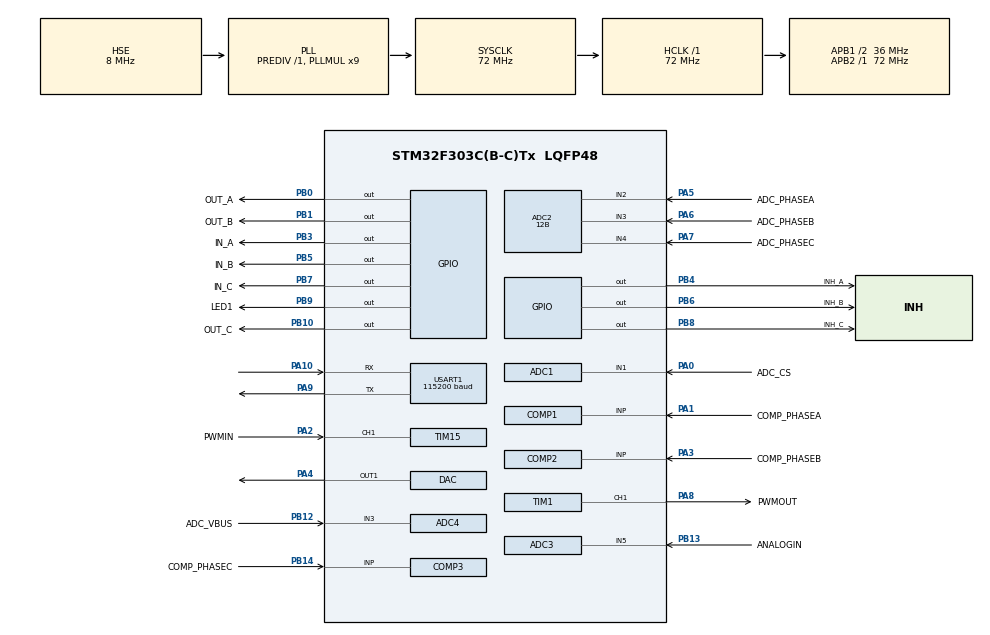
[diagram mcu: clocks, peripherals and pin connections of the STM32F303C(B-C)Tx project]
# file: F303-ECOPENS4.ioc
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ADC1.Channel-0\#ChannelRegularConversion=ADC_CHANNEL_1
ADC1.ClockPrescaler=ADC_CLOCK_SYNC_PCLK_DIV2
ADC1.ContinuousConvMode=ENABLE
ADC1.DMAContinuousRequests=ENABLE
ADC1.DataAlign=ADC_DATAALIGN_RIGHT
ADC1.EOCSelection=ADC_EOC_SEQ_CONV
ADC1.EnableInjectedConversion=DISABLE
ADC1.ExternalTrigConv=ADC_SOFTWARE_START
ADC1.ExternalTrigConvEdge=ADC_EXTERNALTRIGCONVEDGE_NONE
ADC1.NbrOfConversion=1
ADC1.NbrOfConversionFlag=1
ADC1.Offset-0\#ChannelRegularConversion=0
ADC1.OffsetNumber-0\#ChannelRegularConversion=ADC_OFFSET_NONE
ADC1.Rank-0\#ChannelRegularConversion=1
ADC1.SamplingTime-0\#ChannelRegularConversion=ADC_SAMPLETIME_19CYCLES_5
ADC1.SamplingTimeOPAMP-0\#ChannelRegularConversion=ADC_SAMPLETIME_4CYCLES_5
ADC1.master=1
ADC2.Channel-1\#ChannelRegularConversion=ADC_CHANNEL_2
ADC2.Channel-2\#ChannelRegularConversion=ADC_CHANNEL_3
ADC2.Channel-3\#ChannelRegularConversion=ADC_CHANNEL_4
ADC2.ClockPrescaler=ADC_CLOCK_SYNC_PCLK_DIV2
ADC2.ContinuousConvMode=ENABLE
ADC2.DMAContinuousRequests=ENABLE
ADC2.EOCSelection=ADC_EOC_SEQ_CONV
ADC2.EnableAnalogWatchDog1=false
ADC2.EnableAnalogWatchDog2=false
ADC2.EnableAnalogWatchDog3=false
ADC2.EnableInjectedConversion=DISABLE
ADC2.ExternalTrigConv=ADC_EXTERNALTRIGCONV_T1_TRGO2
ADC2.ExternalTrigConvEdge=ADC_EXTERNALTRIGCONVEDGE_RISING
ADC2.NbrOfConversion=3
ADC2.NbrOfConversionFlag=1
ADC2.Offset-1\#ChannelRegularConversion=0
ADC2.Offset-2\#ChannelRegularConversion=0
ADC2.Offset-3\#ChannelRegularConversion=0
ADC2.OffsetNumber-1\#ChannelRegularConversion=ADC_OFFSET_NONE
ADC2.OffsetNumber-2\#ChannelRegularConversion=ADC_OFFSET_NONE
ADC2.OffsetNumber-3\#ChannelRegularConversion=ADC_OFFSET_NONE
ADC2.Rank-1\#ChannelRegularConversion=1
ADC2.Rank-2\#ChannelRegularConversion=2
ADC2.Rank-3\#ChannelRegularConversion=3
ADC2.Resolution=ADC_RESOLUTION_12B
ADC2.SamplingTime-1\#ChannelRegularConversion=ADC_SAMPLETIME_4CYCLES_5
ADC2.SamplingTime-2\#ChannelRegularConversion=ADC_SAMPLETIME_4CYCLES_5
ADC2.SamplingTime-3\#ChannelRegularConversion=ADC_SAMPLETIME_4CYCLES_5
ADC2.SamplingTimeOPAMP-2\#ChannelRegularConversion=ADC_SAMPLETIME_4CYCLES_5
ADC2.SamplingTimeOPAMP-3\#ChannelRegularConversion=ADC_SAMPLETIME_4CYCLES_5
ADC3.Channel-0\#ChannelRegularConversion=ADC_CHANNEL_5
ADC3.ClockPrescaler=ADC_CLOCK_SYNC_PCLK_DIV4
ADC3.ContinuousConvMode=ENABLE
ADC3.DMAContinuousRequests=DISABLE
ADC3.EOCSelection=ADC_EOC_SINGLE_CONV
ADC3.EnableAnalogWatchDog1=false
ADC3.EnableInjectedConversion=DISABLE
ADC3.NbrOfConversion=1
ADC3.NbrOfConversionFlag=1
ADC3.Offset-0\#ChannelRegularConversion=0
ADC3.OffsetNumber-0\#ChannelRegularConversion=ADC_OFFSET_NONE
ADC3.Rank-0\#ChannelRegularConversion=1
ADC3.SamplingTime-0\#ChannelRegularConversion=ADC_SAMPLETIME_601CYCLES_5
ADC3.SamplingTimeOPAMP-0\#ChannelRegularConversion=ADC_SAMPLETIME_7CYCLES_5
ADC3.master=1
ADC4.Channel-0\#ChannelRegularConversion=ADC_CHANNEL_3
ADC4.ClockPrescaler=ADC_CLOCK_SYNC_PCLK_DIV4
ADC4.ContinuousConvMode=ENABLE
ADC4.DMAContinuousRequests=DISABLE
ADC4.EOCSelection=ADC_EOC_SEQ_CONV
ADC4.NbrOfConversion=1
ADC4.NbrOfConversionFlag=1
ADC4.Offset-0\#ChannelRegularConversion=0
ADC4.OffsetNumber-0\#ChannelRegularConversion=ADC_OFFSET_NONE
ADC4.Rank-0\#ChannelRegularConversion=1
ADC4.SamplingTime-0\#ChannelRegularConversion=ADC_SAMPLETIME_61CYCLES_5
COMP1.BlankingSrce=COMP_BLANKINGSRCE_TIM1OC5
COMP1.InvertingInput=COMP_INVERTINGINPUT_DAC1_CH1
COMP1.TriggerMode=COMP_TRIGGERMODE_IT_RISING_FALLING
COMP2.BlankingSrce=COMP_BLANKINGSRCE_TIM1OC5
COMP2.InvertingInput=COMP_INVERTINGINPUT_DAC1_CH1
COMP2.TriggerMode=COMP_TRIGGERMODE_IT_RISING_FALLING
COMP3.BlankingSrce=COMP_BLANKINGSRCE_TIM1OC5
COMP3.InvertingInput=COMP_INVERTINGINPUT_DAC1_CH1
COMP3.TriggerMode=COMP_TRIGGERMODE_IT_RISING_FALLING
Dma.ADC1.1.Direction=DMA_PERIPH_TO_MEMORY
Dma.ADC1.1.Instance=DMA1_Channel1
Dma.ADC1.1.MemDataAlignment=DMA_MDATAALIGN_HALFWORD
Dma.ADC1.1.MemInc=DMA_MINC_ENABLE
Dma.ADC1.1.Mode=DMA_CIRCULAR
Dma.ADC1.1.PeriphDataAlignment=DMA_PDATAALIGN_HALFWORD
Dma.ADC1.1.PeriphInc=DMA_PINC_DISABLE
Dma.ADC1.1.Priority=DMA_PRIORITY_LOW
Dma.ADC2.2.Direction=DMA_PERIPH_TO_MEMORY
Dma.ADC2.2.Instance=DMA2_Channel1
Dma.ADC2.2.MemDataAlignment=DMA_MDATAALIGN_HALFWORD
Dma.ADC2.2.MemInc=DMA_MINC_ENABLE
Dma.ADC2.2.Mode=DMA_CIRCULAR
Dma.ADC2.2.PeriphDataAlignment=DMA_PDATAALIGN_HALFWORD
Dma.ADC2.2.PeriphInc=DMA_PINC_DISABLE
Dma.ADC2.2.Priority=DMA_PRIORITY_LOW
Dma.Request0=USART1_RX
Dma.Request1=ADC1
Dma.Request2=ADC2
Dma.USART1_RX.0.Direction=DMA_PERIPH_TO_MEMORY
Dma.USART1_RX.0.Instance=DMA1_Channel5
Dma.USART1_RX.0.MemDataAlignment=DMA_MDATAALIGN_BYTE
Dma.USART1_RX.0.MemInc=DMA_MINC_ENABLE
Dma.USART1_RX.0.Mode=DMA_CIRCULAR
Dma.USART1_RX.0.PeriphDataAlignment=DMA_PDATAALIGN_BYTE
Dma.USART1_RX.0.PeriphInc=DMA_PINC_DISABLE
Dma.USART1_RX.0.Priority=DMA_PRIORITY_LOW
FREERTOS.Tasks01=comparatorTask,48,128,StartComparatorTask,Default,NULL,Dynamic,NULL,NULL;analogInTask,40,128,StartAnalogInTask,Default,NULL,Dynamic,NULL,NULL;controllerTask,24,128,StartControllerTask,Default,NULL,Dynamic,NULL,NULL;positioningTask,49,128,StartPositioningTask,Default,NULL,Dynamic,NULL,NULL
Mcu.Family=STM32F3
Mcu.Name=STM32F303C(B-C)Tx
Mcu.Package=LQFP48
NVIC.ADC1_2_IRQn=true\:5\:0\:false\:false\:true\:true\:true\:true
NVIC.COMP1_2_3_IRQn=true\:5\:0\:false\:false\:true\:true\:false\:true
NVIC.DMA1_Channel1_IRQn=true\:5\:0\:true\:false\:true\:true\:false\:true
NVIC.DMA1_Channel5_IRQn=true\:5\:0\:true\:false\:true\:true\:false\:true
NVIC.DMA2_Channel1_IRQn=true\:5\:0\:false\:false\:true\:true\:false\:true
NVIC.PriorityGroup=NVIC_PRIORITYGROUP_4
NVIC.TIM1_BRK_TIM15_IRQn=true\:5\:0\:true\:false\:true\:true\:true\:true
NVIC.TIM1_CC_IRQn=true\:5\:0\:false\:false\:true\:true\:true\:true
NVIC.TIM1_UP_TIM16_IRQn=true\:5\:0\:true\:false\:true\:true\:true\:true
NVIC.TIM3_IRQn=true\:5\:0\:false\:false\:true\:true\:true\:true
NVIC.TIM6_DAC_IRQn=true\:5\:0\:true\:false\:true\:true\:true\:true
NVIC.TIM7_IRQn=true\:15\:0\:false\:false\:true\:false\:false\:true
NVIC.TimeBase=TIM7_IRQn
NVIC.TimeBaseIP=TIM7
PA0.GPIO_Label=ADC_CS
PA0.Mode=IN1-Single-Ended
PA0.Signal=ADC1_IN1
PA1.GPIO_Label=COMP_PHASEA
PA1.Mode=INP
PA1.Signal=COMP1_INP
PA10.Mode=Asynchronous
PA10.Signal=USART1_RX
PA13.Mode=Serial_Wire
PA13.Signal=SYS_JTMS-SWDIO
PA14.Mode=Serial_Wire
PA14.Signal=SYS_JTCK-SWCLK
PA2.GPIO_Label=PWMIN
PA2.GPIO_PuPd=GPIO_PULLDOWN
PA2.GPIO_Speed=GPIO_SPEED_FREQ_LOW
PA2.Signal=S_TIM15_CH1
PA3.GPIO_Label=COMP_PHASEB
PA3.Mode=INP
PA3.Signal=COMP2_INP
PA4.Signal=COMP_DAC1_group
PA5.GPIO_Label=ADC_PHASEA
PA5.Mode=IN2-Single-Ended
PA5.Signal=ADC2_IN2
PA6.GPIO_Label=ADC_PHASEB
PA6.Mode=IN3-Single-Ended
PA6.Signal=ADC2_IN3
PA7.GPIO_Label=ADC_PHASEC
PA7.Mode=IN4-Single-Ended
PA7.Signal=ADC2_IN4
PA8.GPIO_Label=PWMOUT
PA8.GPIO_PuPd=GPIO_PULLDOWN
PA8.GPIO_Speed=GPIO_SPEED_FREQ_HIGH
PA8.Signal=S_TIM1_CH1
PA9.Mode=Asynchronous
PA9.Signal=USART1_TX
PB0.GPIO_Label=OUT_A
PB0.GPIO_ModeDefaultOutputPP=GPIO_MODE_OUTPUT_OD
PB0.PinState=GPIO_PIN_RESET
PB0.Signal=GPIO_Output
PB1.GPIO_Label=OUT_B
PB1.GPIO_ModeDefaultOutputPP=GPIO_MODE_OUTPUT_OD
PB1.PinState=GPIO_PIN_RESET
PB1.Signal=GPIO_Output
PB10.GPIO_Label=OUT_C
PB10.GPIO_ModeDefaultOutputPP=GPIO_MODE_OUTPUT_OD
PB10.Signal=GPIO_Output
PB12.GPIO_Label=ADC_VBUS
PB12.Mode=IN3-Single-Ended
PB12.Signal=ADC4_IN3
PB13.GPIO_Label=ANALOGIN
PB13.Mode=IN5-Single-Ended
PB13.Signal=ADC3_IN5
PB14.GPIO_Label=COMP_PHASEC
PB14.Mode=INP
PB14.Signal=COMP3_INP
PB3.GPIO_Label=IN_A
PB3.GPIO_ModeDefaultOutputPP=GPIO_MODE_OUTPUT_OD
PB3.Signal=GPIO_Output
PB4.GPIO_Label=INH_A
PB4.Signal=GPIO_Output
PB5.GPIO_Label=IN_B
PB5.GPIO_ModeDefaultOutputPP=GPIO_MODE_OUTPUT_OD
PB5.Signal=GPIO_Output
PB6.GPIO_Label=INH_B
PB6.Signal=GPIO_Output
PB7.GPIO_Label=IN_C
PB7.GPIO_ModeDefaultOutputPP=GPIO_MODE_OUTPUT_OD
PB7.Signal=GPIO_Output
PB8.GPIO_Label=INH_C
PB8.Signal=GPIO_Output
PB9.GPIO_Label=LED1
PB9.Signal=GPIO_Output
PF0-OSC_IN.Mode=HSE-External-Oscillator
PF0-OSC_IN.Signal=RCC_OSC_IN
PF1-OSC_OUT.Mode=HSE-External-Oscillator
PF1-OSC_OUT.Signal=RCC_OSC_OUT
ProjectManager.HeapSize=0x200
ProjectManager.StackSize=0x400
ProjectManager.TargetToolchain=STM32CubeIDE
RCC.ADC12PRES=RCC_ADC12PLLCLK_DIV2
RCC.ADC34PRES=RCC_ADC34PLLCLK_DIV12
RCC.AHBFreq_Value=72000000
RCC.APB1CLKDivider=RCC_HCLK_DIV2
RCC.APB1Freq_Value=36000000
RCC.APB1TimFreq_Value=72000000
RCC.APB2Freq_Value=72000000
RCC.APB2TimFreq_Value=72000000
RCC.CortexFreq_Value=72000000
RCC.HCLKFreq_Value=72000000
RCC.HSE_VALUE=8000000
RCC.HSI_VALUE=8000000
RCC.LSE_VALUE=32768
RCC.PLLMUL=RCC_PLL_MUL9
RCC.PLLSourceVirtual=RCC_PLLSOURCE_HSE
RCC.SYSCLKFreq_VALUE=72000000
RCC.SYSCLKSourceVirtual=RCC_SYSCLKSOURCE_PLLCLK
RCC.USBFreq_Value=72000000
SH.COMP_DAC1_group.0=DAC_OUT1,DAC_OUT1
SH.S_TIM15_CH1.0=TIM15_CH1,Input_Capture1_from_TI1
SH.S_TIM15_CH1.1=TIM15_CH1,Input_Capture2_from_TI1
SH.S_TIM1_CH1.0=TIM1_CH1,PWM Generation1 CH1
TIM1.Channel-PWM\ Generation1\ CH1=TIM_CHANNEL_1
TIM1.Channel-PWM\ Generation5\ No\ Output=TIM_CHANNEL_5
TIM1.CounterMode=TIM_COUNTERMODE_CENTERALIGNED3
TIM1.OCFastMode_PWM-PWM\ Generation1\ CH1=TIM_OCFAST_ENABLE
TIM1.OCFastMode_PWM-PWM\ Generation5\ No\ Output=TIM_OCFAST_ENABLE
TIM1.OCIdleState_1=TIM_OCIDLESTATE_SET
TIM1.OCIdleState_5=TIM_OCIDLESTATE_SET
TIM1.OCMode_PWM-PWM\ Generation1\ CH1=TIM_OCMODE_PWM1
TIM1.Period=1800
TIM1.Prescaler=0
TIM1.Pulse-PWM\ Generation1\ CH1=0
TIM1.TIM_MasterOutputTrigger=TIM_TRGO_UPDATE
TIM1.TIM_MasterOutputTrigger2=TIM_TRGO2_OC5REF
TIM15.Channel-Input_Capture1_from_TI1=TIM_CHANNEL_1
TIM15.Channel-Input_Capture2_from_TI1=TIM_CHANNEL_2
TIM15.ICPolarity_CH2=TIM_INPUTCHANNELPOLARITY_FALLING
TIM15.Prescaler=72 - 1
TIM16.Period=1000
TIM16.Prescaler=72 - 1
TIM2.ClockDivision=TIM_CLOCKDIVISION_DIV1
TIM2.Prescaler=0
TIM3.Channel-Output\ Compare1\ No\ Output=TIM_CHANNEL_1
TIM3.Period=65000
TIM3.Prescaler=1
TIM3.Pulse-Output\ Compare1\ No\ Output=500
TIM6.Period=10
TIM6.Prescaler=72 - 1
USART1.BaudRate=115200
USART1.VirtualMode-Asynchronous=VM_ASYNC
VP_COMP1_VS_DAC1OUT1.Mode=INM_DACOUT1
VP_COMP2_VS_DAC1OUT1.Mode=INM_DACOUT1
VP_COMP3_VS_DAC1OUT1.Mode=INM_DACOUT1
VP_FREERTOS_VS_CMSIS_V2.Mode=CMSIS_V2
VP_SYS_VS_tim7.Mode=TIM7
VP_TIM15_VS_ClockSourceINT.Mode=Internal
VP_TIM16_VS_ClockSourceINT.Mode=Enable_Timer
VP_TIM1_VS_no_output5.Mode=PWM Generation5 No Output
VP_TIM2_VS_ClockSourceINT.Mode=Internal
VP_TIM3_VS_no_output1.Mode=Output Compare1 No Output
VP_TIM6_VS_ClockSourceINT.Mode=Enable_Timer
board=custom

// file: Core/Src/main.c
/* USER CODE BEGIN Header */
/**
 ******************************************************************************
 * @file           : main.c
 * @brief          : Main program body
 ******************************************************************************
 * @attention
 *
 * <h2><center>&copy; Copyright (c) 2021 STMicroelectronics.
 * All rights reserved.</center></h2>
 *
 * This software component is licensed by ST under Ultimate Liberty license
 * SLA0044, the "License"; You may not use this file except in compliance with
 * the License. You may obtain a copy of the License at:
 *                             www.st.com/SLA0044
 *
 ******************************************************************************
 */
/* USER CODE END Header */
#include "main.h"
#include "cmsis_os.h"

/* USER CODE BEGIN Includes */
#include "retarget.h"
#include <stdio.h>
#include <stdbool.h>
#include <dwt_delay.h>
/* USER CODE END Includes */

/* USER CODE BEGIN PTD */
typedef enum {
	MODE_MOTOR_STOP,
	MODE_MOTOR_CALIBRATION,
	MODE_MOTOR_READY,
	MODE_MOTOR_START,
	MODE_MOTOR_RUN
} MODE_MOTOR_t;

typedef enum {
	BEMF_FALLING = 0, BEMF_RISING
} BEMF_DIR_t;

typedef enum {
	PHASE_A = 0, PHASE_B, PHASE_C
} PHASE_t;
/* USER CODE END PTD */

/* USER CODE BEGIN PD */
#define COMP1_CALLBACK 1
#define COMP2_CALLBACK 2
#define COMP3_CALLBACK 3
/* USER CODE END PD */

ADC_HandleTypeDef hadc1;
ADC_HandleTypeDef hadc2;
ADC_HandleTypeDef hadc3;
ADC_HandleTypeDef hadc4;
DMA_HandleTypeDef hdma_adc1;
DMA_HandleTypeDef hdma_adc2;

COMP_HandleTypeDef hcomp1;
COMP_HandleTypeDef hcomp2;
COMP_HandleTypeDef hcomp3;

DAC_HandleTypeDef hdac;

TIM_HandleTypeDef htim1;
TIM_HandleTypeDef htim2;
TIM_HandleTypeDef htim3;
TIM_HandleTypeDef htim6;
TIM_HandleTypeDef htim15;
TIM_HandleTypeDef htim16;

UART_HandleTypeDef huart1;
DMA_HandleTypeDef hdma_usart1_rx;

/* Definitions for comparatorTask */
osThreadId_t comparatorTaskHandle;
const osThreadAttr_t comparatorTask_attributes = { .name = "comparatorTask",
		.stack_size = 128 * 4, .priority = (osPriority_t) osPriorityRealtime, };
/* Definitions for analogInTask */
osThreadId_t analogInTaskHandle;
const osThreadAttr_t analogInTask_attributes = { .name = "analogInTask",
		.stack_size = 128 * 4, .priority = (osPriority_t) osPriorityHigh, };
/* Definitions for controllerTask */
osThreadId_t controllerTaskHandle;
const osThreadAttr_t controllerTask_attributes = { .name = "controllerTask",
		.stack_size = 128 * 4, .priority = (osPriority_t) osPriorityNormal, };
/* Definitions for positioningTask */
osThreadId_t positioningTaskHandle;
const osThreadAttr_t positioningTask_attributes = { .name = "positioningTask",
		.stack_size = 128 * 4, .priority = (osPriority_t) osPriorityRealtime1, };
/* USER CODE BEGIN PV */
uint8_t compTrig = 0;

uint8_t buffer[200];
volatile uint16_t strSize;
volatile uint8_t commutationStepCounter;
volatile uint8_t waitForCommutation = 1;

uint32_t tim2cnt;
uint8_t RXBuffer[200];
bool USART1DataFlag = false;
float adcIntegral = 0;
bool adcDMAStarted = false;

volatile int16_t newPWM = 100;
volatile int16_t setPWM = 100;
volatile int16_t compWindowOffset = 250 * 2; //this opens a comparator window to block overshooting signals from triggering (adjust to Vbat)
volatile uint16_t oc5Value = 200; //preset offset-value (for fine tuning) of the DAC voltage output as the reference voltage for the compartors (about 0V or Vbat/2)
volatile uint8_t pwmState = 0; //indicates whether a zero crossing (pwm low) or a Vbat/2 crossing (pwm high) will be detected; 0 = PWM low detection, 1 = PWM high detection

ADC_ChannelConfTypeDef sConfig;
TIM_OC_InitTypeDef sConfigOC5B;
TIM_OC_InitTypeDef sConfigOC5A;
bool firstStart = false;

volatile bool readRotation = false;

float measuredRPM = 0;
float inputRPM = 0;
uint32_t rpm_cnt = 0;

uint16_t input_pwm_min = 1000;
uint16_t input_pwm_max = 1900;

uint32_t inputDutyCycle = 0;
float inputFrequency = 0;
uint16_t oc5ValueOld = 0;

uint16_t adcVbus = 3900;

PHASE_t phase_bemf = PHASE_B;

BEMF_DIR_t bemf_dir = BEMF_FALLING;

MODE_MOTOR_t mode_motor = MODE_MOTOR_STOP;

uint16_t adc2DMA[10] = { 0 };

float errorPWM = 0.0;
float integralErrorPWM = 0.0;

/* USER CODE END PV */

void SystemClock_Config(void);
static void MX_GPIO_Init(void);
static void MX_DMA_Init(void);
static void MX_ADC1_Init(void);
static void MX_COMP1_Init(void);
static void MX_COMP2_Init(void);
static void MX_COMP3_Init(void);
static void MX_DAC_Init(void);
static void MX_TIM1_Init(void);
static void MX_USART1_UART_Init(void);
static void MX_ADC2_Init(void);
static void MX_TIM15_Init(void);
static void MX_TIM2_Init(void);
static void MX_TIM6_Init(void);
static void MX_TIM16_Init(void);
static void MX_ADC3_Init(void);
static void MX_ADC4_Init(void);
static void MX_TIM3_Init(void);
void StartComparatorTask(void *argument);
void StartAnalogInTask(void *argument);
void StartControllerTask(void *argument);
void StartPositioningTask(void *argument);

/* USER CODE BEGIN 0 */
void commutateNow_0(void) {
	HAL_GPIO_WritePin(INH_A_GPIO_Port, INH_A_Pin, GPIO_PIN_SET); //PHASE A HIGH
	HAL_GPIO_WritePin(IN_A_GPIO_Port, IN_A_Pin, GPIO_PIN_SET);

	HAL_GPIO_WritePin(INH_B_GPIO_Port, INH_B_Pin, GPIO_PIN_RESET); //PHASE B FLOATING
	HAL_GPIO_WritePin(IN_B_GPIO_Port, IN_B_Pin, GPIO_PIN_RESET);

	HAL_GPIO_WritePin(INH_C_GPIO_Port, INH_C_Pin, GPIO_PIN_SET); //PHASE C LOW
	HAL_GPIO_WritePin(IN_C_GPIO_Port, IN_C_Pin, GPIO_PIN_RESET);
}

void commutateNow_1(void) {
	HAL_GPIO_WritePin(INH_A_GPIO_Port, INH_A_Pin, GPIO_PIN_RESET); //PHASE A FLOATING
	HAL_GPIO_WritePin(IN_A_GPIO_Port, IN_A_Pin, GPIO_PIN_RESET);

	HAL_GPIO_WritePin(INH_B_GPIO_Port, INH_B_Pin, GPIO_PIN_SET); //PHASE B HIGH
	HAL_GPIO_WritePin(IN_B_GPIO_Port, IN_B_Pin, GPIO_PIN_SET);

	HAL_GPIO_WritePin(INH_C_GPIO_Port, INH_C_Pin, GPIO_PIN_SET); //PHASE C LOW
	HAL_GPIO_WritePin(IN_C_GPIO_Port, IN_C_Pin, GPIO_PIN_RESET);
}

void commutateNow_2(void) {
	HAL_GPIO_WritePin(INH_A_GPIO_Port, INH_A_Pin, GPIO_PIN_SET); //PHASE A LOW
	HAL_GPIO_WritePin(IN_A_GPIO_Port, IN_A_Pin, GPIO_PIN_RESET);

	HAL_GPIO_WritePin(INH_B_GPIO_Port, INH_B_Pin, GPIO_PIN_SET); //PHASE B HIGH
	HAL_GPIO_WritePin(IN_B_GPIO_Port, IN_B_Pin, GPIO_PIN_SET);

	HAL_GPIO_WritePin(INH_C_GPIO_Port, INH_C_Pin, GPIO_PIN_RESET); //PHASE C FLOATING
	HAL_GPIO_WritePin(IN_C_GPIO_Port, IN_C_Pin, GPIO_PIN_RESET);
}

void commutateNow_3(void) {
	HAL_GPIO_WritePin(INH_A_GPIO_Port, INH_A_Pin, GPIO_PIN_SET); //PHASE A LOW
	HAL_GPIO_WritePin(IN_A_GPIO_Port, IN_A_Pin, GPIO_PIN_RESET);

	HAL_GPIO_WritePin(INH_B_GPIO_Port, INH_B_Pin, GPIO_PIN_RESET); //PHASE B FLOATING
	HAL_GPIO_WritePin(IN_B_GPIO_Port, IN_B_Pin, GPIO_PIN_RESET);

	HAL_GPIO_WritePin(INH_C_GPIO_Port, INH_C_Pin, GPIO_PIN_SET); //PHASE C HIGH
	HAL_GPIO_WritePin(IN_C_GPIO_Port, IN_C_Pin, GPIO_PIN_SET);

}

void commutateNow_4(void) {
	HAL_GPIO_WritePin(INH_A_GPIO_Port, INH_A_Pin, GPIO_PIN_RESET); //PHASE A FLOATING
	HAL_GPIO_WritePin(IN_A_GPIO_Port, IN_A_Pin, GPIO_PIN_RESET);

	HAL_GPIO_WritePin(INH_B_GPIO_Port, INH_B_Pin, GPIO_PIN_SET); //PHASE B LOW
	HAL_GPIO_WritePin(IN_B_GPIO_Port, IN_B_Pin, GPIO_PIN_RESET);

	HAL_GPIO_WritePin(INH_C_GPIO_Port, INH_C_Pin, GPIO_PIN_SET); //PHASE C HIGH
	HAL_GPIO_WritePin(IN_C_GPIO_Port, IN_C_Pin, GPIO_PIN_SET);

}
void commutateNow_5(void) {
	HAL_GPIO_WritePin(INH_A_GPIO_Port, INH_A_Pin, GPIO_PIN_SET); //PHASE A HIGH
	HAL_GPIO_WritePin(IN_A_GPIO_Port, IN_A_Pin, GPIO_PIN_SET);

	HAL_GPIO_WritePin(INH_B_GPIO_Port, INH_B_Pin, GPIO_PIN_SET); //PHASE B LOW
	HAL_GPIO_WritePin(IN_B_GPIO_Port, IN_B_Pin, GPIO_PIN_RESET);

	HAL_GPIO_WritePin(INH_C_GPIO_Port, INH_B_Pin, GPIO_PIN_RESET); //PHASE C FLOATING
	HAL_GPIO_WritePin(IN_C_GPIO_Port, IN_B_Pin, GPIO_PIN_RESET);
}

void commutationPattern(uint8_t step) {
	if (step == NEXT && waitForCommutation == 1) {
		bemf_dir = !bemf_dir;
		if (commutationStepCounter < STEP_5)
			commutationStepCounter++;
		else {
			commutationStepCounter = STEP_0;
		}
		switch (commutationStepCounter) {
		case STEP_0:
			commutateNow_0();
			COMPDELAY
			;
			waitForCommutation = 0;
			phase_bemf = PHASE_B;
			bemf_dir = BEMF_RISING;
			HAL_COMP_Start_IT(&hcomp2);
			break;
		case STEP_1:
			commutateNow_1();
			COMPDELAY
			;
			waitForCommutation = 0;
			phase_bemf = PHASE_A;
			bemf_dir = BEMF_FALLING;
			HAL_COMP_Start_IT(&hcomp1);
			break;
		case STEP_2:
			commutateNow_2();
			COMPDELAY
			;
			waitForCommutation = 0;
			phase_bemf = PHASE_C;
			bemf_dir = BEMF_RISING;
			HAL_COMP_Start_IT(&hcomp3);
			break;
		case STEP_3:
			commutateNow_3();
			COMPDELAY
			;
			waitForCommutation = 0;
			phase_bemf = PHASE_B;
			bemf_dir = BEMF_FALLING;
			HAL_COMP_Start_IT(&hcomp2);
			break;
		case STEP_4:
			commutateNow_4();
			COMPDELAY
			;
			waitForCommutation = 0;
			phase_bemf = PHASE_A;
			bemf_dir = BEMF_RISING;
			HAL_COMP_Start_IT(&hcomp1);
			break;
		case STEP_5:
			commutateNow_5();
			COMPDELAY
			;
			waitForCommutation = 0;
			phase_bemf = PHASE_C;
			bemf_dir = BEMF_FALLING;
			HAL_COMP_Start_IT(&hcomp3);
			break;
		}
	} else {
		waitForCommutation = 0;
		switch (step) {
		case STEP_0:
			commutateNow_0();
			break;
		case STEP_1:
			commutateNow_1();
			break;
		case STEP_2:
			commutateNow_2();
			break;
		case STEP_3:
			commutateNow_3();
			break;
		case STEP_4:
			commutateNow_4();
			break;
		case STEP_5:
			commutateNow_5();
			break;
		}
	}
}

void startMotor() {
	//setPWM = newPWM = 360;
	setPWM = newPWM = 180;

	TIM1->CCR1 = setPWM;
	TIM1->CCR5 = setPWM + compWindowOffset;

	uint8_t step = 0;
	uint16_t i = 2020;

	while (i > 1300) {

		DWT_Delay(i);
		commutationPattern(step);
		setPWM += 2;
		TIM1->CCR1 = newPWM = setPWM;
		TIM1->CCR1 = setPWM + compWindowOffset;
		step += 1;
		step %= 6;
		i -= 10;
	}

	waitForCommutation = 1;

	commutationStepCounter = step;
	//commutationPattern(NEXT);

	//mode_motor = MODE_MOTOR_RUN;
}

void reset() {
	HAL_DAC_SetValue(&hdac, DAC_CHANNEL_1, DAC_ALIGN_12B_R, 0);

	HAL_GPIO_WritePin(GPIOB,
			INH_A_Pin | INH_B_Pin | INH_C_Pin | IN_A_Pin | IN_B_Pin | IN_C_Pin
					| OUT_A_Pin | OUT_B_Pin | OUT_C_Pin, GPIO_PIN_RESET);
	HAL_COMP_Stop_IT(&hcomp1);
	HAL_COMP_Stop_IT(&hcomp2);
	HAL_COMP_Stop_IT(&hcomp3);
}
/* USER CODE END 0 */

int main(void) {

	/* MCU Configuration--------------------------------------------------------*/

	/* Reset of all peripherals, Initializes the Flash interface and the Systick. */
	HAL_Init();

	/* Configure the system clock */
	SystemClock_Config();

	/* Initialize all configured peripherals */
	MX_GPIO_Init();
	MX_DMA_Init();
	MX_ADC1_Init();
	MX_COMP1_Init();
	MX_COMP2_Init();
	MX_COMP3_Init();
	MX_DAC_Init();
	MX_TIM1_Init();
	MX_USART1_UART_Init();
	MX_ADC2_Init();
	MX_TIM15_Init();
	MX_TIM2_Init();
	MX_TIM6_Init();
	MX_TIM16_Init();
	MX_ADC3_Init();
	MX_ADC4_Init();
	MX_TIM3_Init();
	/* USER CODE BEGIN 2 */
	RetargetInit(&huart1);
	DWT_Init();
	printf("Test\r\n");
	printf("asdf\r\n");

	HAL_ADC_Start(&hadc4);
	while (__HAL_ADC_GET_FLAG(&hadc4, ADC_FLAG_EOC) != SET)
		;

	adcVbus = HAL_ADC_GetValue(&hadc4);

	sConfigOC5B.OCMode = TIM_OCMODE_PWM1;
	sConfigOC5B.OCFastMode = TIM_OCFAST_DISABLE;
	sConfigOC5B.OCIdleState = TIM_OCIDLESTATE_RESET;
	sConfigOC5B.OCPolarity = TIM_OCPOLARITY_HIGH; //HIGH for PWM low detection

	sConfigOC5A.OCMode = TIM_OCMODE_PWM1;
	sConfigOC5A.OCFastMode = TIM_OCFAST_DISABLE; //DISABLE
	sConfigOC5A.OCIdleState = TIM_OCIDLESTATE_RESET;
	sConfigOC5A.OCPolarity = TIM_OCPOLARITY_LOW; //LOW for PWM high detection

	HAL_TIM_PWM_Start(&htim1, TIM_CHANNEL_1);
	HAL_TIM_PWM_Start(&htim1, TIM_CHANNEL_5);
	//HAL_TIM_OC_Start_IT(&htim3, TIM_CHANNEL_1);
	HAL_TIM_Base_Start(&htim2);
	HAL_TIM_Base_Start(&htim6);

	HAL_DAC_Start(&hdac, DAC_CHANNEL_1);
	HAL_DAC_SetValue(&hdac, DAC_CHANNEL_1, DAC_ALIGN_12B_R, 0);

	HAL_ADC_Start_DMA(&hadc2, (uint32_t*) adc2DMA, 3);

	__HAL_DMA_DISABLE_IT(&hdma_adc2, DMA_IT_TC);
	__HAL_DMA_DISABLE_IT(&hdma_adc2, DMA_IT_HT);
	__HAL_ADC_DISABLE_IT(&hadc2, ADC_IT_EOS);
	__HAL_ADC_DISABLE_IT(&hadc2, ADC_IT_EOC);

	HAL_TIM_Base_Start(&htim2);

	setPWM = TIM1->CCR1 = TIM1->CCR5 = 0;

	printf("Mulai!\r\n");

	/* USER CODE END 2 */

	/* Init scheduler */
	osKernelInitialize();

	/* Create the thread(s) */
	/* creation of comparatorTask */
	comparatorTaskHandle = osThreadNew(StartComparatorTask, NULL,
			&comparatorTask_attributes);

	/* creation of analogInTask */
	analogInTaskHandle = osThreadNew(StartAnalogInTask, NULL,
			&analogInTask_attributes);

	/* creation of controllerTask */
	controllerTaskHandle = osThreadNew(StartControllerTask, NULL,
			&controllerTask_attributes);

	/* creation of positioningTask */
	positioningTaskHandle = osThreadNew(StartPositioningTask, NULL,
			&positioningTask_attributes);

	/* Start scheduler */
	osKernelStart();

	/* We should never get here as control is now taken by the scheduler */
	/* Infinite loop */
	while (1) {

	}
}

void SystemClock_Config(void) {
	RCC_OscInitTypeDef RCC_OscInitStruct = { 0 };
	RCC_ClkInitTypeDef RCC_ClkInitStruct = { 0 };
	RCC_PeriphCLKInitTypeDef PeriphClkInit = { 0 };

	/** Initializes the RCC Oscillators according to the specified parameters
	 * in the RCC_OscInitTypeDef structure.
	 */
	RCC_OscInitStruct.OscillatorType = RCC_OSCILLATORTYPE_HSE;
	RCC_OscInitStruct.HSEState = RCC_HSE_ON;
	RCC_OscInitStruct.HSEPredivValue = RCC_HSE_PREDIV_DIV1;
	RCC_OscInitStruct.HSIState = RCC_HSI_ON;
	RCC_OscInitStruct.PLL.PLLState = RCC_PLL_ON;
	RCC_OscInitStruct.PLL.PLLSource = RCC_PLLSOURCE_HSE;
	RCC_OscInitStruct.PLL.PLLMUL = RCC_PLL_MUL9;
	if (HAL_RCC_OscConfig(&RCC_OscInitStruct) != HAL_OK) {
		Error_Handler();
	}
	/** Initializes the CPU, AHB and APB buses clocks
	 */
	RCC_ClkInitStruct.ClockType = RCC_CLOCKTYPE_HCLK | RCC_CLOCKTYPE_SYSCLK
			| RCC_CLOCKTYPE_PCLK1 | RCC_CLOCKTYPE_PCLK2;
	RCC_ClkInitStruct.SYSCLKSource = RCC_SYSCLKSOURCE_PLLCLK;
	RCC_ClkInitStruct.AHBCLKDivider = RCC_SYSCLK_DIV1;
	RCC_ClkInitStruct.APB1CLKDivider = RCC_HCLK_DIV2;
	RCC_ClkInitStruct.APB2CLKDivider = RCC_HCLK_DIV1;

	if (HAL_RCC_ClockConfig(&RCC_ClkInitStruct, FLASH_LATENCY_2) != HAL_OK) {
		Error_Handler();
	}
	PeriphClkInit.PeriphClockSelection = RCC_PERIPHCLK_USART1
			| RCC_PERIPHCLK_TIM1;
	PeriphClkInit.Usart1ClockSelection = RCC_USART1CLKSOURCE_PCLK2;
	PeriphClkInit.Tim1ClockSelection = RCC_TIM1CLK_HCLK;
	if (HAL_RCCEx_PeriphCLKConfig(&PeriphClkInit) != HAL_OK) {
		Error_Handler();
	}
}

static void MX_ADC1_Init(void) {

	ADC_MultiModeTypeDef multimode = { 0 };
	ADC_ChannelConfTypeDef sConfig = { 0 };

	/** Common config
	 */
	hadc1.Instance = ADC1;
	hadc1.Init.ClockPrescaler = ADC_CLOCK_SYNC_PCLK_DIV2;
	hadc1.Init.Resolution = ADC_RESOLUTION_12B;
	hadc1.Init.ScanConvMode = ADC_SCAN_DISABLE;
	hadc1.Init.ContinuousConvMode = ENABLE;
	hadc1.Init.DiscontinuousConvMode = DISABLE;
	hadc1.Init.ExternalTrigConvEdge = ADC_EXTERNALTRIGCONVEDGE_NONE;
	hadc1.Init.ExternalTrigConv = ADC_SOFTWARE_START;
	hadc1.Init.DataAlign = ADC_DATAALIGN_RIGHT;
	hadc1.Init.NbrOfConversion = 1;
	hadc1.Init.DMAContinuousRequests = ENABLE;
	hadc1.Init.EOCSelection = ADC_EOC_SEQ_CONV;
	hadc1.Init.LowPowerAutoWait = DISABLE;
	hadc1.Init.Overrun = ADC_OVR_DATA_OVERWRITTEN;
	if (HAL_ADC_Init(&hadc1) != HAL_OK) {
		Error_Handler();
	}
	/** Configure the ADC multi-mode
	 */
	multimode.Mode = ADC_MODE_INDEPENDENT;
	if (HAL_ADCEx_MultiModeConfigChannel(&hadc1, &multimode) != HAL_OK) {
		Error_Handler();
	}
	/** Configure Regular Channel
	 */
	sConfig.Channel = ADC_CHANNEL_1;
	sConfig.Rank = ADC_REGULAR_RANK_1;
	sConfig.SingleDiff = ADC_SINGLE_ENDED;
	sConfig.SamplingTime = ADC_SAMPLETIME_19CYCLES_5;
	sConfig.OffsetNumber = ADC_OFFSET_NONE;
	sConfig.Offset = 0;
	if (HAL_ADC_ConfigChannel(&hadc1, &sConfig) != HAL_OK) {
		Error_Handler();
	}

}

static void MX_ADC2_Init(void) {

	ADC_ChannelConfTypeDef sConfig = { 0 };

	/** Common config
	 */
	hadc2.Instance = ADC2;
	hadc2.Init.ClockPrescaler = ADC_CLOCK_SYNC_PCLK_DIV2;
	hadc2.Init.Resolution = ADC_RESOLUTION_12B;
	hadc2.Init.ScanConvMode = ADC_SCAN_ENABLE;
	hadc2.Init.ContinuousConvMode = ENABLE;
	hadc2.Init.DiscontinuousConvMode = DISABLE;
	hadc2.Init.ExternalTrigConvEdge = ADC_EXTERNALTRIGCONVEDGE_RISING;
	hadc2.Init.ExternalTrigConv = ADC_EXTERNALTRIGCONV_T1_TRGO2;
	hadc2.Init.DataAlign = ADC_DATAALIGN_RIGHT;
	hadc2.Init.NbrOfConversion = 3;
	hadc2.Init.DMAContinuousRequests = ENABLE;
	hadc2.Init.EOCSelection = ADC_EOC_SEQ_CONV;
	hadc2.Init.LowPowerAutoWait = DISABLE;
	hadc2.Init.Overrun = ADC_OVR_DATA_OVERWRITTEN;
	if (HAL_ADC_Init(&hadc2) != HAL_OK) {
		Error_Handler();
	}
	/** Configure Regular Channel
	 */
	sConfig.Channel = ADC_CHANNEL_2;
	sConfig.Rank = ADC_REGULAR_RANK_1;
	sConfig.SingleDiff = ADC_SINGLE_ENDED;
	sConfig.SamplingTime = ADC_SAMPLETIME_4CYCLES_5;
	sConfig.OffsetNumber = ADC_OFFSET_NONE;
	sConfig.Offset = 0;
	if (HAL_ADC_ConfigChannel(&hadc2, &sConfig) != HAL_OK) {
		Error_Handler();
	}
	/** Configure Regular Channel
	 */
	sConfig.Channel = ADC_CHANNEL_3;
	sConfig.Rank = ADC_REGULAR_RANK_2;
	if (HAL_ADC_ConfigChannel(&hadc2, &sConfig) != HAL_OK) {
		Error_Handler();
	}
	/** Configure Regular Channel
	 */
	sConfig.Channel = ADC_CHANNEL_4;
	sConfig.Rank = ADC_REGULAR_RANK_3;
	if (HAL_ADC_ConfigChannel(&hadc2, &sConfig) != HAL_OK) {
		Error_Handler();
	}

}

static void MX_ADC3_Init(void) {

	ADC_MultiModeTypeDef multimode = { 0 };
	ADC_ChannelConfTypeDef sConfig = { 0 };

	/** Common config
	 */
	hadc3.Instance = ADC3;
	hadc3.Init.ClockPrescaler = ADC_CLOCK_SYNC_PCLK_DIV4;
	hadc3.Init.Resolution = ADC_RESOLUTION_12B;
	hadc3.Init.ScanConvMode = ADC_SCAN_DISABLE;
	hadc3.Init.ContinuousConvMode = ENABLE;
	hadc3.Init.DiscontinuousConvMode = DISABLE;
	hadc3.Init.ExternalTrigConvEdge = ADC_EXTERNALTRIGCONVEDGE_NONE;
	hadc3.Init.ExternalTrigConv = ADC_SOFTWARE_START;
	hadc3.Init.DataAlign = ADC_DATAALIGN_RIGHT;
	hadc3.Init.NbrOfConversion = 1;
	hadc3.Init.DMAContinuousRequests = DISABLE;
	hadc3.Init.EOCSelection = ADC_EOC_SINGLE_CONV;
	hadc3.Init.LowPowerAutoWait = DISABLE;
	hadc3.Init.Overrun = ADC_OVR_DATA_OVERWRITTEN;
	if (HAL_ADC_Init(&hadc3) != HAL_OK) {
		Error_Handler();
	}
	/** Configure the ADC multi-mode
	 */
	multimode.Mode = ADC_MODE_INDEPENDENT;
	if (HAL_ADCEx_MultiModeConfigChannel(&hadc3, &multimode) != HAL_OK) {
		Error_Handler();
	}
	/** Configure Regular Channel
	 */
	sConfig.Channel = ADC_CHANNEL_5;
	sConfig.Rank = ADC_REGULAR_RANK_1;
	sConfig.SingleDiff = ADC_SINGLE_ENDED;
	sConfig.SamplingTime = ADC_SAMPLETIME_601CYCLES_5;
	sConfig.OffsetNumber = ADC_OFFSET_NONE;
	sConfig.Offset = 0;
	if (HAL_ADC_ConfigChannel(&hadc3, &sConfig) != HAL_OK) {
		Error_Handler();
	}

}

static void MX_ADC4_Init(void) {

	ADC_ChannelConfTypeDef sConfig = { 0 };

	/** Common config
	 */
	hadc4.Instance = ADC4;
	hadc4.Init.ClockPrescaler = ADC_CLOCK_SYNC_PCLK_DIV4;
	hadc4.Init.Resolution = ADC_RESOLUTION_12B;
	hadc4.Init.ScanConvMode = ADC_SCAN_DISABLE;
	hadc4.Init.ContinuousConvMode = ENABLE;
	hadc4.Init.DiscontinuousConvMode = DISABLE;
	hadc4.Init.ExternalTrigConvEdge = ADC_EXTERNALTRIGCONVEDGE_NONE;
	hadc4.Init.ExternalTrigConv = ADC_SOFTWARE_START;
	hadc4.Init.DataAlign = ADC_DATAALIGN_RIGHT;
	hadc4.Init.NbrOfConversion = 1;
	hadc4.Init.DMAContinuousRequests = DISABLE;
	hadc4.Init.EOCSelection = ADC_EOC_SEQ_CONV;
	hadc4.Init.LowPowerAutoWait = DISABLE;
	hadc4.Init.Overrun = ADC_OVR_DATA_OVERWRITTEN;
	if (HAL_ADC_Init(&hadc4) != HAL_OK) {
		Error_Handler();
	}
	/** Configure Regular Channel
	 */
	sConfig.Channel = ADC_CHANNEL_3;
	sConfig.Rank = ADC_REGULAR_RANK_1;
	sConfig.SingleDiff = ADC_SINGLE_ENDED;
	sConfig.SamplingTime = ADC_SAMPLETIME_61CYCLES_5;
	sConfig.OffsetNumber = ADC_OFFSET_NONE;
	sConfig.Offset = 0;
	if (HAL_ADC_ConfigChannel(&hadc4, &sConfig) != HAL_OK) {
		Error_Handler();
	}

}

static void MX_COMP1_Init(void) {

	hcomp1.Instance = COMP1;
	hcomp1.Init.InvertingInput = COMP_INVERTINGINPUT_DAC1_CH1;
	hcomp1.Init.NonInvertingInput = COMP_NONINVERTINGINPUT_IO1;
	hcomp1.Init.Output = COMP_OUTPUT_NONE;
	hcomp1.Init.OutputPol = COMP_OUTPUTPOL_NONINVERTED;
	hcomp1.Init.Hysteresis = COMP_HYSTERESIS_NONE;
	hcomp1.Init.BlankingSrce = COMP_BLANKINGSRCE_TIM1OC5;
	hcomp1.Init.Mode = COMP_MODE_HIGHSPEED;
	hcomp1.Init.WindowMode = COMP_WINDOWMODE_DISABLE;
	hcomp1.Init.TriggerMode = COMP_TRIGGERMODE_IT_RISING_FALLING;
	if (HAL_COMP_Init(&hcomp1) != HAL_OK) {
		Error_Handler();
	}

}

static void MX_COMP2_Init(void) {

	hcomp2.Instance = COMP2;
	hcomp2.Init.InvertingInput = COMP_INVERTINGINPUT_DAC1_CH1;
	hcomp2.Init.NonInvertingInput = COMP_NONINVERTINGINPUT_IO2;
	hcomp2.Init.Output = COMP_OUTPUT_NONE;
	hcomp2.Init.OutputPol = COMP_OUTPUTPOL_NONINVERTED;
	hcomp2.Init.Hysteresis = COMP_HYSTERESIS_NONE;
	hcomp2.Init.BlankingSrce = COMP_BLANKINGSRCE_TIM1OC5;
	hcomp2.Init.Mode = COMP_MODE_HIGHSPEED;
	hcomp2.Init.WindowMode = COMP_WINDOWMODE_DISABLE;
	hcomp2.Init.TriggerMode = COMP_TRIGGERMODE_IT_RISING_FALLING;
	if (HAL_COMP_Init(&hcomp2) != HAL_OK) {
		Error_Handler();
	}

}

static void MX_COMP3_Init(void) {

	hcomp3.Instance = COMP3;
	hcomp3.Init.InvertingInput = COMP_INVERTINGINPUT_DAC1_CH1;
	hcomp3.Init.NonInvertingInput = COMP_NONINVERTINGINPUT_IO1;
	hcomp3.Init.Output = COMP_OUTPUT_NONE;
	hcomp3.Init.OutputPol = COMP_OUTPUTPOL_NONINVERTED;
	hcomp3.Init.Hysteresis = COMP_HYSTERESIS_NONE;
	hcomp3.Init.BlankingSrce = COMP_BLANKINGSRCE_TIM1OC5;
	hcomp3.Init.Mode = COMP_MODE_HIGHSPEED;
	hcomp3.Init.WindowMode = COMP_WINDOWMODE_DISABLE;
	hcomp3.Init.TriggerMode = COMP_TRIGGERMODE_IT_RISING_FALLING;
	if (HAL_COMP_Init(&hcomp3) != HAL_OK) {
		Error_Handler();
	}

}

static void MX_DAC_Init(void) {

	DAC_ChannelConfTypeDef sConfig = { 0 };

	/** DAC Initialization
	 */
	hdac.Instance = DAC;
	if (HAL_DAC_Init(&hdac) != HAL_OK) {
		Error_Handler();
	}
	/** DAC channel OUT1 config
	 */
	sConfig.DAC_Trigger = DAC_TRIGGER_NONE;
	sConfig.DAC_OutputBuffer = DAC_OUTPUTBUFFER_ENABLE;
	if (HAL_DAC_ConfigChannel(&hdac, &sConfig, DAC_CHANNEL_1) != HAL_OK) {
		Error_Handler();
	}

}

static void MX_TIM1_Init(void) {

	TIM_MasterConfigTypeDef sMasterConfig = { 0 };
	TIM_OC_InitTypeDef sConfigOC = { 0 };
	TIM_BreakDeadTimeConfigTypeDef sBreakDeadTimeConfig = { 0 };

	htim1.Instance = TIM1;
	htim1.Init.Prescaler = 0;
	htim1.Init.CounterMode = TIM_COUNTERMODE_CENTERALIGNED3;
	htim1.Init.Period = 1800;
	htim1.Init.ClockDivision = TIM_CLOCKDIVISION_DIV1;
	htim1.Init.RepetitionCounter = 0;
	htim1.Init.AutoReloadPreload = TIM_AUTORELOAD_PRELOAD_DISABLE;
	if (HAL_TIM_PWM_Init(&htim1) != HAL_OK) {
		Error_Handler();
	}
	sMasterConfig.MasterOutputTrigger = TIM_TRGO_UPDATE;
	sMasterConfig.MasterOutputTrigger2 = TIM_TRGO2_OC5REF;
	sMasterConfig.MasterSlaveMode = TIM_MASTERSLAVEMODE_DISABLE;
	if (HAL_TIMEx_MasterConfigSynchronization(&htim1, &sMasterConfig)
			!= HAL_OK) {
		Error_Handler();
	}
	sConfigOC.OCMode = TIM_OCMODE_PWM1;
	sConfigOC.Pulse = 0;
	sConfigOC.OCPolarity = TIM_OCPOLARITY_HIGH;
	sConfigOC.OCNPolarity = TIM_OCNPOLARITY_HIGH;
	sConfigOC.OCFastMode = TIM_OCFAST_ENABLE;
	sConfigOC.OCIdleState = TIM_OCIDLESTATE_SET;
	sConfigOC.OCNIdleState = TIM_OCNIDLESTATE_RESET;
	if (HAL_TIM_PWM_ConfigChannel(&htim1, &sConfigOC, TIM_CHANNEL_1)
			!= HAL_OK) {
		Error_Handler();
	}
	if (HAL_TIM_PWM_ConfigChannel(&htim1, &sConfigOC, TIM_CHANNEL_5)
			!= HAL_OK) {
		Error_Handler();
	}
	sBreakDeadTimeConfig.OffStateRunMode = TIM_OSSR_DISABLE;
	sBreakDeadTimeConfig.OffStateIDLEMode = TIM_OSSI_DISABLE;
	sBreakDeadTimeConfig.LockLevel = TIM_LOCKLEVEL_OFF;
	sBreakDeadTimeConfig.DeadTime = 0;
	sBreakDeadTimeConfig.BreakState = TIM_BREAK_DISABLE;
	sBreakDeadTimeConfig.BreakPolarity = TIM_BREAKPOLARITY_HIGH;
	sBreakDeadTimeConfig.BreakFilter = 0;
	sBreakDeadTimeConfig.Break2State = TIM_BREAK2_DISABLE;
	sBreakDeadTimeConfig.Break2Polarity = TIM_BREAK2POLARITY_HIGH;
	sBreakDeadTimeConfig.Break2Filter = 0;
	sBreakDeadTimeConfig.AutomaticOutput = TIM_AUTOMATICOUTPUT_DISABLE;
	if (HAL_TIMEx_ConfigBreakDeadTime(&htim1, &sBreakDeadTimeConfig)
			!= HAL_OK) {
		Error_Handler();
	}
	HAL_TIM_MspPostInit(&htim1);

}

static void MX_TIM2_Init(void) {

	TIM_ClockConfigTypeDef sClockSourceConfig = { 0 };
	TIM_MasterConfigTypeDef sMasterConfig = { 0 };

	htim2.Instance = TIM2;
	htim2.Init.Prescaler = 0;
	htim2.Init.CounterMode = TIM_COUNTERMODE_UP;
	htim2.Init.Period = 4294967295;
	htim2.Init.ClockDivision = TIM_CLOCKDIVISION_DIV1;
	htim2.Init.AutoReloadPreload = TIM_AUTORELOAD_PRELOAD_DISABLE;
	if (HAL_TIM_Base_Init(&htim2) != HAL_OK) {
		Error_Handler();
	}
	sClockSourceConfig.ClockSource = TIM_CLOCKSOURCE_INTERNAL;
	if (HAL_TIM_ConfigClockSource(&htim2, &sClockSourceConfig) != HAL_OK) {
		Error_Handler();
	}
	sMasterConfig.MasterOutputTrigger = TIM_TRGO_RESET;
	sMasterConfig.MasterSlaveMode = TIM_MASTERSLAVEMODE_DISABLE;
	if (HAL_TIMEx_MasterConfigSynchronization(&htim2, &sMasterConfig)
			!= HAL_OK) {
		Error_Handler();
	}

}

static void MX_TIM3_Init(void) {

	TIM_MasterConfigTypeDef sMasterConfig = { 0 };
	TIM_OC_InitTypeDef sConfigOC = { 0 };

	htim3.Instance = TIM3;
	htim3.Init.Prescaler = 1;
	htim3.Init.CounterMode = TIM_COUNTERMODE_UP;
	htim3.Init.Period = 65000;
	htim3.Init.ClockDivision = TIM_CLOCKDIVISION_DIV1;
	htim3.Init.AutoReloadPreload = TIM_AUTORELOAD_PRELOAD_DISABLE;
	if (HAL_TIM_OC_Init(&htim3) != HAL_OK) {
		Error_Handler();
	}
	sMasterConfig.MasterOutputTrigger = TIM_TRGO_RESET;
	sMasterConfig.MasterSlaveMode = TIM_MASTERSLAVEMODE_DISABLE;
	if (HAL_TIMEx_MasterConfigSynchronization(&htim3, &sMasterConfig)
			!= HAL_OK) {
		Error_Handler();
	}
	sConfigOC.OCMode = TIM_OCMODE_TIMING;
	sConfigOC.Pulse = 500;
	sConfigOC.OCPolarity = TIM_OCPOLARITY_HIGH;
	sConfigOC.OCFastMode = TIM_OCFAST_DISABLE;
	if (HAL_TIM_OC_ConfigChannel(&htim3, &sConfigOC, TIM_CHANNEL_1) != HAL_OK) {
		Error_Handler();
	}

}

static void MX_TIM6_Init(void) {

	TIM_MasterConfigTypeDef sMasterConfig = { 0 };

	htim6.Instance = TIM6;
	htim6.Init.Prescaler = 72 - 1;
	htim6.Init.CounterMode = TIM_COUNTERMODE_UP;
	htim6.Init.Period = 10;
	htim6.Init.AutoReloadPreload = TIM_AUTORELOAD_PRELOAD_DISABLE;
	if (HAL_TIM_Base_Init(&htim6) != HAL_OK) {
		Error_Handler();
	}
	sMasterConfig.MasterOutputTrigger = TIM_TRGO_RESET;
	sMasterConfig.MasterSlaveMode = TIM_MASTERSLAVEMODE_DISABLE;
	if (HAL_TIMEx_MasterConfigSynchronization(&htim6, &sMasterConfig)
			!= HAL_OK) {
		Error_Handler();
	}

}

static void MX_TIM15_Init(void) {

	TIM_ClockConfigTypeDef sClockSourceConfig = { 0 };
	TIM_MasterConfigTypeDef sMasterConfig = { 0 };
	TIM_IC_InitTypeDef sConfigIC = { 0 };

	htim15.Instance = TIM15;
	htim15.Init.Prescaler = 72 - 1;
	htim15.Init.CounterMode = TIM_COUNTERMODE_UP;
	htim15.Init.Period = 65535;
	htim15.Init.ClockDivision = TIM_CLOCKDIVISION_DIV1;
	htim15.Init.RepetitionCounter = 0;
	htim15.Init.AutoReloadPreload = TIM_AUTORELOAD_PRELOAD_DISABLE;
	if (HAL_TIM_Base_Init(&htim15) != HAL_OK) {
		Error_Handler();
	}
	sClockSourceConfig.ClockSource = TIM_CLOCKSOURCE_INTERNAL;
	if (HAL_TIM_ConfigClockSource(&htim15, &sClockSourceConfig) != HAL_OK) {
		Error_Handler();
	}
	if (HAL_TIM_IC_Init(&htim15) != HAL_OK) {
		Error_Handler();
	}
	sMasterConfig.MasterOutputTrigger = TIM_TRGO_RESET;
	sMasterConfig.MasterSlaveMode = TIM_MASTERSLAVEMODE_DISABLE;
	if (HAL_TIMEx_MasterConfigSynchronization(&htim15, &sMasterConfig)
			!= HAL_OK) {
		Error_Handler();
	}
	sConfigIC.ICPolarity = TIM_INPUTCHANNELPOLARITY_RISING;
	sConfigIC.ICSelection = TIM_ICSELECTION_DIRECTTI;
	sConfigIC.ICPrescaler = TIM_ICPSC_DIV1;
	sConfigIC.ICFilter = 0;
	if (HAL_TIM_IC_ConfigChannel(&htim15, &sConfigIC, TIM_CHANNEL_1)
			!= HAL_OK) {
		Error_Handler();
	}
	sConfigIC.ICPolarity = TIM_INPUTCHANNELPOLARITY_FALLING;
	sConfigIC.ICSelection = TIM_ICSELECTION_INDIRECTTI;
	if (HAL_TIM_IC_ConfigChannel(&htim15, &sConfigIC, TIM_CHANNEL_2)
			!= HAL_OK) {
		Error_Handler();
	}

}

static void MX_TIM16_Init(void) {

	htim16.Instance = TIM16;
	htim16.Init.Prescaler = 72 - 1;
	htim16.Init.CounterMode = TIM_COUNTERMODE_UP;
	htim16.Init.Period = 1000;
	htim16.Init.ClockDivision = TIM_CLOCKDIVISION_DIV1;
	htim16.Init.RepetitionCounter = 0;
	htim16.Init.AutoReloadPreload = TIM_AUTORELOAD_PRELOAD_DISABLE;
	if (HAL_TIM_Base_Init(&htim16) != HAL_OK) {
		Error_Handler();
	}

}

static void MX_USART1_UART_Init(void) {

	huart1.Instance = USART1;
	huart1.Init.BaudRate = 115200;
	huart1.Init.WordLength = UART_WORDLENGTH_8B;
	huart1.Init.StopBits = UART_STOPBITS_1;
	huart1.Init.Parity = UART_PARITY_NONE;
	huart1.Init.Mode = UART_MODE_TX_RX;
	huart1.Init.HwFlowCtl = UART_HWCONTROL_NONE;
	huart1.Init.OverSampling = UART_OVERSAMPLING_16;
	huart1.Init.OneBitSampling = UART_ONE_BIT_SAMPLE_DISABLE;
	huart1.AdvancedInit.AdvFeatureInit = UART_ADVFEATURE_NO_INIT;
	if (HAL_UART_Init(&huart1) != HAL_OK) {
		Error_Handler();
	}

}

static void MX_DMA_Init(void) {

	/* DMA controller clock enable */
	__HAL_RCC_DMA1_CLK_ENABLE();
	__HAL_RCC_DMA2_CLK_ENABLE();

	/* DMA interrupt init */
	/* DMA1_Channel1_IRQn interrupt configuration */
	HAL_NVIC_SetPriority(DMA1_Channel1_IRQn, 5, 0);
	HAL_NVIC_EnableIRQ(DMA1_Channel1_IRQn);
	/* DMA1_Channel5_IRQn interrupt configuration */
	HAL_NVIC_SetPriority(DMA1_Channel5_IRQn, 5, 0);
	HAL_NVIC_EnableIRQ(DMA1_Channel5_IRQn);
	/* DMA2_Channel1_IRQn interrupt configuration */
	HAL_NVIC_SetPriority(DMA2_Channel1_IRQn, 5, 0);
	HAL_NVIC_EnableIRQ(DMA2_Channel1_IRQn);

}

static void MX_GPIO_Init(void) {
	GPIO_InitTypeDef GPIO_InitStruct = { 0 };

	/* GPIO Ports Clock Enable */
	__HAL_RCC_GPIOF_CLK_ENABLE();
	__HAL_RCC_GPIOA_CLK_ENABLE();
	__HAL_RCC_GPIOB_CLK_ENABLE();

	/*Configure GPIO pin Output Level */
	HAL_GPIO_WritePin(GPIOB,
			OUT_A_Pin | OUT_B_Pin | OUT_C_Pin | IN_A_Pin | INH_A_Pin | IN_B_Pin
					| INH_B_Pin | IN_C_Pin | INH_C_Pin | LED1_Pin,
			GPIO_PIN_RESET);

	/*Configure GPIO pins : OUT_A_Pin OUT_B_Pin OUT_C_Pin IN_A_Pin
	 IN_B_Pin IN_C_Pin */
	GPIO_InitStruct.Pin = OUT_A_Pin | OUT_B_Pin | OUT_C_Pin | IN_A_Pin
			| IN_B_Pin | IN_C_Pin;
	GPIO_InitStruct.Mode = GPIO_MODE_OUTPUT_OD;
	GPIO_InitStruct.Pull = GPIO_NOPULL;
	GPIO_InitStruct.Speed = GPIO_SPEED_FREQ_LOW;
	HAL_GPIO_Init(GPIOB, &GPIO_InitStruct);

	/*Configure GPIO pins : INH_A_Pin INH_B_Pin INH_C_Pin LED1_Pin */
	GPIO_InitStruct.Pin = INH_A_Pin | INH_B_Pin | INH_C_Pin | LED1_Pin;
	GPIO_InitStruct.Mode = GPIO_MODE_OUTPUT_PP;
	GPIO_InitStruct.Pull = GPIO_NOPULL;
	GPIO_InitStruct.Speed = GPIO_SPEED_FREQ_LOW;
	HAL_GPIO_Init(GPIOB, &GPIO_InitStruct);

}

/* USER CODE BEGIN 4 */
void HAL_ADC_ConvCpltCallback(ADC_HandleTypeDef *hadc) {

}

void HAL_COMP_TriggerCallback(COMP_HandleTypeDef *hcomp) {
	if (hcomp->Instance == COMP1 && waitForCommutation == 0) {
		HAL_COMP_Stop_IT(&hcomp1);
		compTrig = COMP1_CALLBACK;
	} else if (hcomp->Instance == COMP2 && waitForCommutation == 0) {
		HAL_COMP_Stop_IT(&hcomp2);
		compTrig = COMP2_CALLBACK;
	} else if (hcomp->Instance == COMP3 && waitForCommutation == 0) {
		HAL_COMP_Stop_IT(&hcomp3);
		compTrig = COMP3_CALLBACK;
	}
	osThreadFlagsSet(comparatorTaskHandle, 0x1);

}

void HAL_TIM_PWM_PulseFinishedCallback(TIM_HandleTypeDef *htim) {
	static uint32_t total;
	//Motor Besar 415KV
	//float IntegralOffset = 0.020;
	//float IntegralOffset = 0.225;
	//float IntegralOffset = 0.235;
	float IntegralOffset = 0.185;

	//Motor Kecil 930KV
	//float IntegralOffset = 0.0750;

	if (htim->Instance == TIM1 && htim->Channel == HAL_TIM_ACTIVE_CHANNEL_1) {
		switch (phase_bemf) {
		case PHASE_A:
			total += adc2DMA[0];
			break;
		case PHASE_B:
			total += adc2DMA[1];
			break;
		case PHASE_C:
			total += adc2DMA[2];
			break;
		}

		if ((float) total * 0.000025f >= IntegralOffset) {
			__HAL_TIM_DISABLE_IT(&htim1, TIM_IT_CC1);
			total = 0;
			commutationPattern(NEXT);
		}
	}
}

/*void HAL_TIM_OC_DelayElapsedCallback(TIM_HandleTypeDef *htim){
 if(htim->Instance == TIM3 && waitForCommutation == 1){
 commutationPattern(NEXT);
 }
 }*/
/* USER CODE END 4 */

void StartComparatorTask(void *argument) {
	/* USER CODE BEGIN 5 */
	/* Infinite loop */
	for (;;) {
		osThreadFlagsWait(0x1, osFlagsWaitAny, osWaitForever);
		//TIM1->CCR5 = TIM1->CCR5 = setPWM + compWindowOffset;

		if (compTrig == COMP1_CALLBACK && waitForCommutation == 0) {
			//printf("COMP1 TRIG\r\n");

			//__HAL_TIM_SET_COUNTER(&htim2, 0);
			//__HAL_DMA_ENABLE_IT(&hdma_adc2, DMA_IT_TC);
			//__HAL_TIM_ENABLE_IT(&htim6, TIM_IT_UPDATE);
			__HAL_TIM_ENABLE_IT(&htim1, TIM_IT_CC1);

			waitForCommutation = 1;
		} else if (compTrig == COMP2_CALLBACK && waitForCommutation == 0) {
			//printf("COMP2 TRIG\r\n");

			//__HAL_TIM_SET_COUNTER(&htim2, 0);
			//__HAL_DMA_ENABLE_IT(&hdma_adc2, DMA_IT_TC);
			//__HAL_TIM_ENABLE_IT(&htim6, TIM_IT_UPDATE);
			__HAL_TIM_ENABLE_IT(&htim1, TIM_IT_CC1);

			waitForCommutation = 1;
		} else if (compTrig == COMP3_CALLBACK && waitForCommutation == 0) {
			//printf("COMP3 TRIG\r\n");

			//__HAL_TIM_SET_COUNTER(&htim2, 0);
			//__HAL_DMA_ENABLE_IT(&hdma_adc2, DMA_IT_TC);
			//__HAL_TIM_ENABLE_IT(&htim6, TIM_IT_UPDATE);
			__HAL_TIM_ENABLE_IT(&htim1, TIM_IT_CC1);

			waitForCommutation = 1;
		}

		if (setPWM > 360 && !pwmState) {
			HAL_GPIO_WritePin(GPIOB, OUT_A_Pin | OUT_B_Pin | OUT_C_Pin,
					GPIO_PIN_RESET);

			HAL_GPIO_WritePin(LED1_GPIO_Port, LED1_Pin, GPIO_PIN_SET);

			HAL_TIM_PWM_Stop(&htim1, TIM_CHANNEL_5);
			HAL_DAC_SetValue(&hdac, DAC_CHANNEL_1, DAC_ALIGN_12B_R, 0);
			compWindowOffset = -80;

			HAL_TIM_PWM_ConfigChannel(&htim1, &sConfigOC5A, TIM_CHANNEL_5);
			TIM1->CCR5 = setPWM + compWindowOffset;
			pwmState = 1;
			HAL_TIM_PWM_Start(&htim1, TIM_CHANNEL_5);
		}

		if (setPWM < 300 && pwmState) {
			HAL_GPIO_WritePin(GPIOB, OUT_A_Pin | OUT_B_Pin | OUT_C_Pin,
					GPIO_PIN_SET);

			HAL_GPIO_WritePin(LED1_GPIO_Port, LED1_Pin, GPIO_PIN_RESET);

			HAL_TIM_PWM_Stop(&htim1, TIM_CHANNEL_5);
			HAL_DAC_SetValue(&hdac, DAC_CHANNEL_1, DAC_ALIGN_12B_R, 0);
			compWindowOffset = 250;

			HAL_TIM_PWM_ConfigChannel(&htim1, &sConfigOC5B, TIM_CHANNEL_5);
			TIM1->CCR5 = setPWM + compWindowOffset;
			pwmState = 0;
			HAL_TIM_PWM_Start(&htim1, TIM_CHANNEL_5);
		}
	}
	/* USER CODE END 5 */
}

void StartAnalogInTask(void *argument) {
	/* USER CODE BEGIN StartAnalogInTask */
	uint16_t analogIn = 0;
	uint16_t analogVbus = 0;
	//uint16_t newThreshold = 0;
	HAL_ADC_Start(&hadc3);
	/* Infinite loop */
	for (;;) {
		analogIn = (uint16_t) HAL_ADC_GetValue(&hadc3);
		analogVbus = (uint16_t) HAL_ADC_GetValue(&hadc4);

		//printf("%d\t%d\t%d\t%d\t%f\r\n", analogIn, adc2DMA[0], adc2DMA[1], adc2DMA[2], (float)analogVbus * (analogIn / 4096.0));
		switch (mode_motor) {
		case MODE_MOTOR_STOP:
			if ((float) analogIn >= 4095.0 * 0.3) {
				//printf("Motor Started!\r\n");
				mode_motor = MODE_MOTOR_START;
				osThreadFlagsSet(positioningTaskHandle, 0x1);
			}
			break;
		case MODE_MOTOR_CALIBRATION:
			break;
		case MODE_MOTOR_READY:
			if ((float) analogIn >= 4095.0 * 0.3){
				mode_motor = MODE_MOTOR_START;
				osThreadFlagsSet(positioningTaskHandle, 0x1);
			}
			break;
		case MODE_MOTOR_START:
			//startMotor();
			break;
		case MODE_MOTOR_RUN:
			newPWM = map(analogIn, 0, 4095, PWM_MIN, PWM_MAX);

			if ((float) analogIn < 4095.0 * 0.3 && setPWM == 0) {
				mode_motor = MODE_MOTOR_READY;
				//integralErrorPWM = 0.0;
			} else {
				//TIM1->CCR1 = setPWM;
				//TIM1->CCR5 = setPWM + compWindowOffset;
			}
			break;
		default:
			break;
		}
		osDelay(10);

	}
	/* USER CODE END StartAnalogInTask */
}

void StartControllerTask(void *argument) {
	/* USER CODE BEGIN StartControllerTask */
	float kp = 0.05;
	float ki = 0.01;
	float outputPWM = 0.0;
	float outputIntegralPWM = 0.0;
	/* Infinite loop */
	for (;;) {
		switch (mode_motor) {
		case MODE_MOTOR_READY:
			TIM1->CCR1 = 0;
			TIM1->CCR5 = 0;
			errorPWM = 0.0;
			integralErrorPWM = 0.0;
			break;
		case MODE_MOTOR_RUN:
			errorPWM = (float) (setPWM - newPWM);
			integralErrorPWM += errorPWM;

			outputIntegralPWM = (integralErrorPWM * ki);
			outputIntegralPWM = constrain(outputIntegralPWM, -500.0, 500.0);

			outputPWM = -(errorPWM * kp) + (-outputIntegralPWM);
			outputPWM = constrain(outputPWM, -500.0, 500.0);
			setPWM += (int16_t) outputPWM;
			//setPWM = constrain(setPWM, 0, 3000);
			TIM1->CCR1 = setPWM;
			TIM1->CCR5 = TIM1->CCR1 + compWindowOffset;
			break;
		default:
			break;
		}

		osDelay(1);
	}
	/* USER CODE END StartControllerTask */
}

void StartPositioningTask(void *argument) {
	/* USER CODE BEGIN StartPositioningTask */
	uint16_t count = 0;

	/* Infinite loop */
	for (;;) {
		if (mode_motor != MODE_MOTOR_START) {
			osThreadFlagsWait(0x1, osFlagsWaitAny, osWaitForever);
			commutationStepCounter = STEP_0;
			TIM1->CCR1 = PWM_MAX / 4;
			//startMotor();
		}
		//waitForCommutation = 1;
		commutationPattern(commutationStepCounter);
		commutationStepCounter =
				commutationStepCounter < STEP_5 ? commutationStepCounter++ : 0;

		count++;
		if(count >= 100){
			mode_motor = MODE_MOTOR_RUN;
			waitForCommutation = 1;
			setPWM = PWM_MAX / 4;
			TIM1->CCR1 = setPWM;
			commutationPattern(NEXT);
		}
		DWT_Delay(100);
	}
	/* USER CODE END StartPositioningTask */
}

void HAL_TIM_PeriodElapsedCallback(TIM_HandleTypeDef *htim) {
	if (htim->Instance == TIM7) {
		HAL_IncTick();
	}
}

void Error_Handler(void) {
	__disable_irq();
	while (1) {
	}
}

/************************ (C) COPYRIGHT STMicroelectronics *****END OF FILE****/
